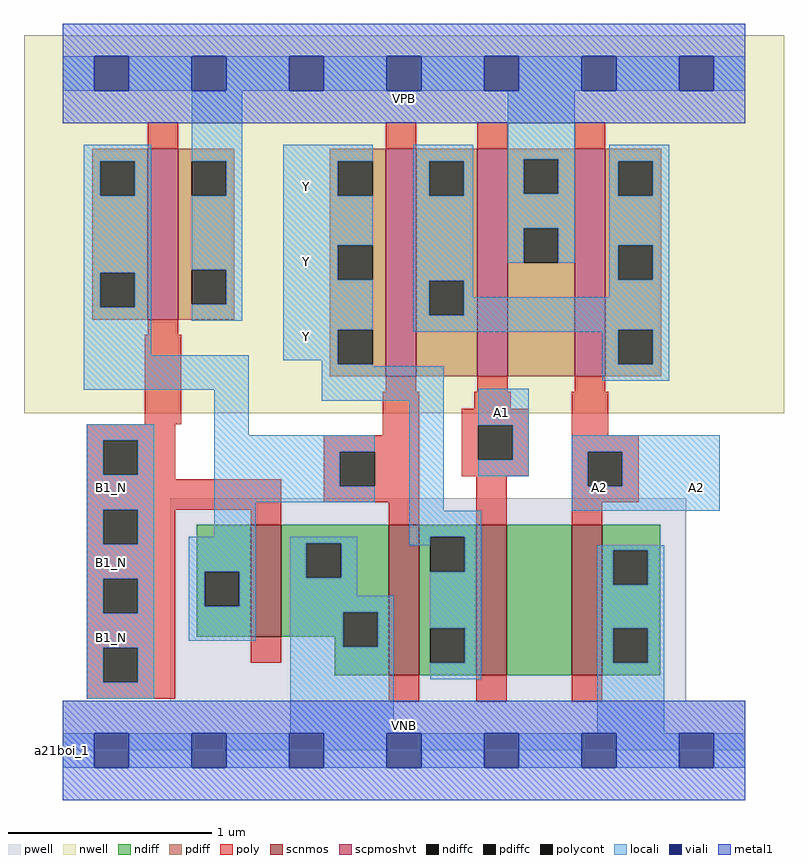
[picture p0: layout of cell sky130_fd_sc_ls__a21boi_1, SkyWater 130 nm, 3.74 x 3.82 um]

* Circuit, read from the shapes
.subckt sky130_fd_sc_ls__a21boi_1 A1 A2 B1_N VGND VNB VPB VPWR Y
XM1 VGND B1_N n1 VNB sky130_fd_pr__nfet_01v8 w=0.55 l=0.15
XM2 Y n1 VGND VNB sky130_fd_pr__nfet_01v8 w=0.74 l=0.15
XM3 n2 A1 Y VNB sky130_fd_pr__nfet_01v8 w=0.74 l=0.15
XM4 VGND A2 n2 VNB sky130_fd_pr__nfet_01v8 w=0.74 l=0.15
XM5 VPWR B1_N n1 VPB sky130_fd_pr__pfet_01v8_hvt w=0.84 l=0.15
XM6 n3 n1 Y VPB sky130_fd_pr__pfet_01v8_hvt w=1.12 l=0.15
XM7 VPWR A1 n3 VPB sky130_fd_pr__pfet_01v8_hvt w=1.12 l=0.15
XM8 n3 A2 VPWR VPB sky130_fd_pr__pfet_01v8_hvt w=1.12 l=0.15
.ends

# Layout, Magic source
magic
tech sky130A
magscale 1 2
<< nwell >>
rect -38 332 710 704
<< pwell >>
rect 106 49 614 248
rect 0 0 672 49
<< scnmos >>
rect 185 112 215 222
rect 321 74 351 222
rect 407 74 437 222
rect 501 74 531 222
<< scpmoshvt >>
rect 84 424 114 592
rect 318 368 348 592
rect 408 368 438 592
rect 504 368 534 592
<< ndiff >>
rect 132 176 185 222
rect 132 142 140 176
rect 174 142 185 176
rect 132 112 185 142
rect 215 204 321 222
rect 215 170 240 204
rect 274 170 321 204
rect 215 136 321 170
rect 215 112 276 136
rect 268 102 276 112
rect 310 102 321 136
rect 268 74 321 102
rect 351 210 407 222
rect 351 176 362 210
rect 396 176 407 210
rect 351 120 407 176
rect 351 86 362 120
rect 396 86 407 120
rect 351 74 407 86
rect 437 74 501 222
rect 531 197 588 222
rect 531 163 542 197
rect 576 163 588 197
rect 531 120 588 163
rect 531 86 542 120
rect 576 86 588 120
rect 531 74 588 86
<< pdiff >>
rect 29 580 84 592
rect 29 546 37 580
rect 71 546 84 580
rect 29 470 84 546
rect 29 436 37 470
rect 71 436 84 470
rect 29 424 84 436
rect 114 580 169 592
rect 114 546 127 580
rect 161 546 169 580
rect 114 473 169 546
rect 114 439 127 473
rect 161 439 169 473
rect 114 424 169 439
rect 263 580 318 592
rect 263 546 271 580
rect 305 546 318 580
rect 263 497 318 546
rect 263 463 271 497
rect 305 463 318 497
rect 263 414 318 463
rect 263 380 271 414
rect 305 380 318 414
rect 263 368 318 380
rect 348 580 408 592
rect 348 546 361 580
rect 395 546 408 580
rect 348 462 408 546
rect 348 428 361 462
rect 395 428 408 462
rect 348 368 408 428
rect 438 582 504 592
rect 438 548 454 582
rect 488 548 504 582
rect 438 514 504 548
rect 438 480 454 514
rect 488 480 504 514
rect 438 368 504 480
rect 534 580 589 592
rect 534 546 547 580
rect 581 546 589 580
rect 534 497 589 546
rect 534 463 547 497
rect 581 463 589 497
rect 534 414 589 463
rect 534 380 547 414
rect 581 380 589 414
rect 534 368 589 380
<< ndiffc >>
rect 140 142 174 176
rect 240 170 274 204
rect 276 102 310 136
rect 362 176 396 210
rect 362 86 396 120
rect 542 163 576 197
rect 542 86 576 120
<< pdiffc >>
rect 37 546 71 580
rect 37 436 71 470
rect 127 546 161 580
rect 127 439 161 473
rect 271 546 305 580
rect 271 463 305 497
rect 271 380 305 414
rect 361 546 395 580
rect 361 428 395 462
rect 454 548 488 582
rect 454 480 488 514
rect 547 546 581 580
rect 547 463 581 497
rect 547 380 581 414
<< poly >>
rect 84 592 114 618
rect 318 592 348 618
rect 408 592 438 618
rect 504 592 534 618
rect 84 409 114 424
rect 81 321 117 409
rect 318 353 348 368
rect 408 353 438 368
rect 504 353 534 368
rect 24 305 111 321
rect 315 310 351 353
rect 405 336 441 353
rect 24 271 40 305
rect 74 271 111 305
rect 24 267 111 271
rect 257 294 351 310
rect 24 237 215 267
rect 257 260 273 294
rect 307 260 351 294
rect 393 320 459 336
rect 393 286 409 320
rect 443 286 459 320
rect 393 270 459 286
rect 501 310 537 353
rect 501 294 567 310
rect 257 244 351 260
rect 24 203 40 237
rect 74 203 111 237
rect 185 222 215 237
rect 321 222 351 244
rect 407 222 437 270
rect 501 260 517 294
rect 551 260 567 294
rect 501 244 567 260
rect 501 222 531 244
rect 24 169 111 203
rect 24 135 40 169
rect 74 135 111 169
rect 24 101 111 135
rect 24 67 40 101
rect 74 67 111 101
rect 185 86 215 112
rect 24 51 111 67
rect 321 48 351 74
rect 407 48 437 74
rect 501 48 531 74
<< polycont >>
rect 40 271 74 305
rect 273 260 307 294
rect 409 286 443 320
rect 40 203 74 237
rect 517 260 551 294
rect 40 135 74 169
rect 40 67 74 101
<< locali >>
rect 0 649 31 683
rect 65 649 127 683
rect 161 649 223 683
rect 257 649 319 683
rect 353 649 415 683
rect 449 649 511 683
rect 545 649 607 683
rect 641 649 672 683
rect 21 580 87 596
rect 21 546 37 580
rect 71 546 87 580
rect 21 470 87 546
rect 21 436 37 470
rect 71 436 87 470
rect 21 389 87 436
rect 127 580 177 649
rect 161 546 177 580
rect 127 473 177 546
rect 161 439 177 473
rect 127 423 177 439
rect 217 580 305 596
rect 217 546 271 580
rect 217 497 305 546
rect 217 463 271 497
rect 217 414 305 463
rect 21 355 183 389
rect 217 384 271 414
rect 24 305 90 321
rect 24 271 40 305
rect 74 271 90 305
rect 24 237 90 271
rect 24 203 40 237
rect 74 203 90 237
rect 149 310 183 355
rect 255 380 271 384
rect 345 580 404 596
rect 345 546 361 580
rect 395 546 404 580
rect 345 462 404 546
rect 438 582 504 649
rect 438 548 454 582
rect 488 548 504 582
rect 438 514 504 548
rect 438 480 454 514
rect 488 480 504 514
rect 538 580 597 596
rect 538 546 547 580
rect 581 546 597 580
rect 538 497 597 546
rect 345 428 361 462
rect 395 446 404 462
rect 538 463 547 497
rect 581 463 597 497
rect 538 446 597 463
rect 395 428 597 446
rect 345 414 597 428
rect 345 412 547 414
rect 255 378 305 380
rect 531 380 547 412
rect 581 380 597 414
rect 255 344 375 378
rect 531 364 597 380
rect 149 294 307 310
rect 149 260 273 294
rect 149 244 307 260
rect 149 210 190 244
rect 341 236 375 344
rect 409 320 459 356
rect 443 286 459 320
rect 409 270 459 286
rect 501 294 647 310
rect 501 260 517 294
rect 551 260 647 294
rect 501 236 647 260
rect 341 210 412 236
rect 24 169 90 203
rect 24 135 40 169
rect 74 135 90 169
rect 24 101 90 135
rect 124 176 190 210
rect 124 142 140 176
rect 174 142 190 176
rect 124 108 190 142
rect 224 204 290 210
rect 224 170 240 204
rect 274 170 290 204
rect 341 202 362 210
rect 224 152 290 170
rect 396 176 412 210
rect 224 136 326 152
rect 24 67 40 101
rect 74 67 90 101
rect 24 51 90 67
rect 224 102 276 136
rect 310 102 326 136
rect 224 17 326 102
rect 362 120 412 176
rect 396 86 412 120
rect 362 70 412 86
rect 526 197 592 202
rect 526 163 542 197
rect 576 163 592 197
rect 526 120 592 163
rect 526 86 542 120
rect 576 86 592 120
rect 526 17 592 86
rect 0 -17 31 17
rect 65 -17 127 17
rect 161 -17 223 17
rect 257 -17 319 17
rect 353 -17 415 17
rect 449 -17 511 17
rect 545 -17 607 17
rect 641 -17 672 17
<< viali >>
rect 31 649 65 683
rect 127 649 161 683
rect 223 649 257 683
rect 319 649 353 683
rect 415 649 449 683
rect 511 649 545 683
rect 607 649 641 683
rect 31 -17 65 17
rect 127 -17 161 17
rect 223 -17 257 17
rect 319 -17 353 17
rect 415 -17 449 17
rect 511 -17 545 17
rect 607 -17 641 17
<< metal1 >>
rect 0 683 672 715
rect 0 649 31 683
rect 65 649 127 683
rect 161 649 223 683
rect 257 649 319 683
rect 353 649 415 683
rect 449 649 511 683
rect 545 649 607 683
rect 641 649 672 683
rect 0 617 672 649
rect 0 17 672 49
rect 0 -17 31 17
rect 65 -17 127 17
rect 161 -17 223 17
rect 257 -17 319 17
rect 353 -17 415 17
rect 449 -17 511 17
rect 545 -17 607 17
rect 641 -17 672 17
rect 0 -49 672 -17
<< labels >>
rlabel comment s 0 0 0 0 4 a21boi_1
flabel pwell s 0 0 672 49 0 FreeSans 200 0 0 0 VNB
port 5 nsew ground bidirectional
flabel nwell s 0 617 672 666 0 FreeSans 200 0 0 0 VPB
port 6 nsew power bidirectional
flabel metal1 s 0 617 672 666 0 FreeSans 340 0 0 0 VPWR
port 7 nsew power bidirectional abutment
flabel metal1 s 0 0 672 49 0 FreeSans 340 0 0 0 VGND
port 4 nsew ground bidirectional abutment
flabel locali s 31 94 65 128 0 FreeSans 340 0 0 0 B1_N
port 3 nsew signal input
flabel locali s 31 168 65 202 0 FreeSans 340 0 0 0 B1_N
port 3 nsew signal input
flabel locali s 31 242 65 276 0 FreeSans 340 0 0 0 B1_N
port 3 nsew signal input
flabel locali s 223 390 257 424 0 FreeSans 340 0 0 0 Y
port 8 nsew signal output
flabel locali s 223 464 257 498 0 FreeSans 340 0 0 0 Y
port 8 nsew signal output
flabel locali s 223 538 257 572 0 FreeSans 340 0 0 0 Y
port 8 nsew signal output
flabel locali s 511 242 545 276 0 FreeSans 340 0 0 0 A2
port 2 nsew signal input
flabel locali s 607 242 641 276 0 FreeSans 340 0 0 0 A2
port 2 nsew signal input
flabel locali s 415 316 449 350 0 FreeSans 340 0 0 0 A1
port 1 nsew signal input
<< properties >>
string LEFsite unit
string LEFclass CORE
string FIXED_BBOX 0 0 672 666
string GDS_FILE $PDKPATH/libs.ref/sky130_fd_sc_ls/gds/sky130_fd_sc_ls.gds
string LEFsymmetry X Y
string GDS_END 3578756
string GDS_START 3571954
<< end >>
